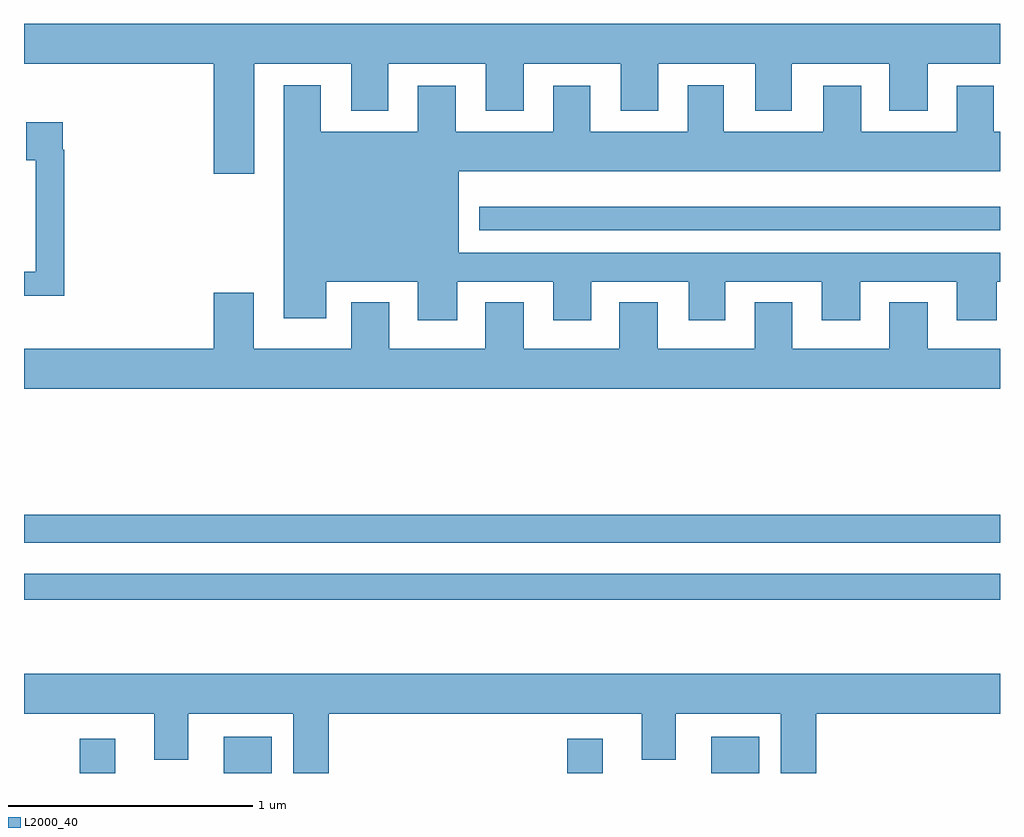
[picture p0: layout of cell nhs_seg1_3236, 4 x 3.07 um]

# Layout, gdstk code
import gdstk
lib = gdstk.Library(unit=1e-6, precision=1e-09)
def R(c, l, rs):  # rectangles x0, y0, x1, y1
    for r in rs: c.add(gdstk.rectangle(r[:2], r[2:], *l))
def P(c, l, *ps):  # polygons
    for p in ps: c.add(gdstk.Polygon(p, *l))
L2000_40 = (2000, 40)

nhs_seg1_3236 = lib.new_cell('nhs_seg1_3236')
R(nhs_seg1_3236, L2000_40, [(287.228,506.199,287.374,506.341), (287.819,506.199,288.015,506.35), (289.226,506.199,289.372,506.341), (289.817,506.199,290.013,506.35), (287,506.91,291,507.018), (287,507.144,291,507.26), (288.866,508.425,291,508.522)])
P(nhs_seg1_3236, L2000_40, [(287.944,509.108),(288.341,509.108),(288.341,508.914),(288.493,508.914),(288.493,509.108),(288.893,509.108),(288.893,508.914),(289.048,508.914),(289.048,509.108),(289.445,509.108),(289.445,508.914),(289.6,508.914),(289.6,509.108),(289.997,509.108),(289.997,508.914),(290.146,508.914),(290.146,509.108),(290.546,509.108),(290.546,508.914),(290.704,508.914),(290.704,509.108),(291,509.108),(291,509.272),(287,509.272),(287,509.108),(287.777,509.108),(287.777,508.656),(287.944,508.656)],
  [(288.775,508.214),(289.169,508.214),(289.169,508.056),(289.324,508.056),(289.324,508.214),(289.724,508.214),(289.724,508.056),(289.873,508.056),(289.873,508.214),(290.27,508.214),(290.27,508.056),(290.428,508.056),(290.428,508.214),(290.822,508.214),(290.822,508.056),(290.986,508.056),(290.986,508.214),(291,508.214),(291,508.333),(288.781,508.333),(288.781,508.667),(291,508.667),(291,508.828),(290.974,508.828),(290.974,509.017),(290.822,509.017),(290.822,508.828),(290.431,508.828),(290.431,509.017),(290.276,509.017),(290.276,508.828),(289.867,508.828),(289.867,509.02),(289.721,509.02),(289.721,508.828),(289.321,508.828),(289.321,509.017),(289.169,509.017),(289.169,508.828),(288.769,508.828),(288.769,509.017),(288.614,509.017),(288.614,508.828),(288.217,508.828),(288.217,509.02),(288.065,509.02),(288.065,508.064),(288.238,508.064),(288.238,508.214),(288.614,508.214),(288.614,508.056),(288.775,508.056)],
  [(287.165,508.754),(287.158,508.754),(287.158,508.867),(287.009,508.867),(287.009,508.711),(287.049,508.711),(287.049,508.254),(287,508.254),(287,508.157),(287.165,508.157)],
  [(289.439,508.129),(289.439,507.94),(289.048,507.94),(289.048,508.129),(288.89,508.129),(288.89,507.94),(288.496,507.94),(288.496,508.129),(288.341,508.129),(288.341,507.94),(287.941,507.94),(287.941,508.168),(287.777,508.168),(287.777,507.94),(287,507.94),(287,507.776),(291,507.776),(291,507.94),(290.704,507.94),(290.704,508.129),(290.546,508.129),(290.546,507.94),(290.149,507.94),(290.149,508.129),(289.994,508.129),(289.994,507.94),(289.597,507.94),(289.597,508.129)],
  [(288.248,506.444),(289.532,506.444),(289.532,506.254),(289.672,506.254),(289.672,506.444),(290.102,506.444),(290.102,506.199),(290.246,506.199),(290.246,506.444),(291,506.444),(291,506.608),(287,506.608),(287,506.444),(287.534,506.444),(287.534,506.254),(287.674,506.254),(287.674,506.444),(288.104,506.444),(288.104,506.199),(288.248,506.199)])

lib.write_gds('nhs_seg1_3236.gds')
